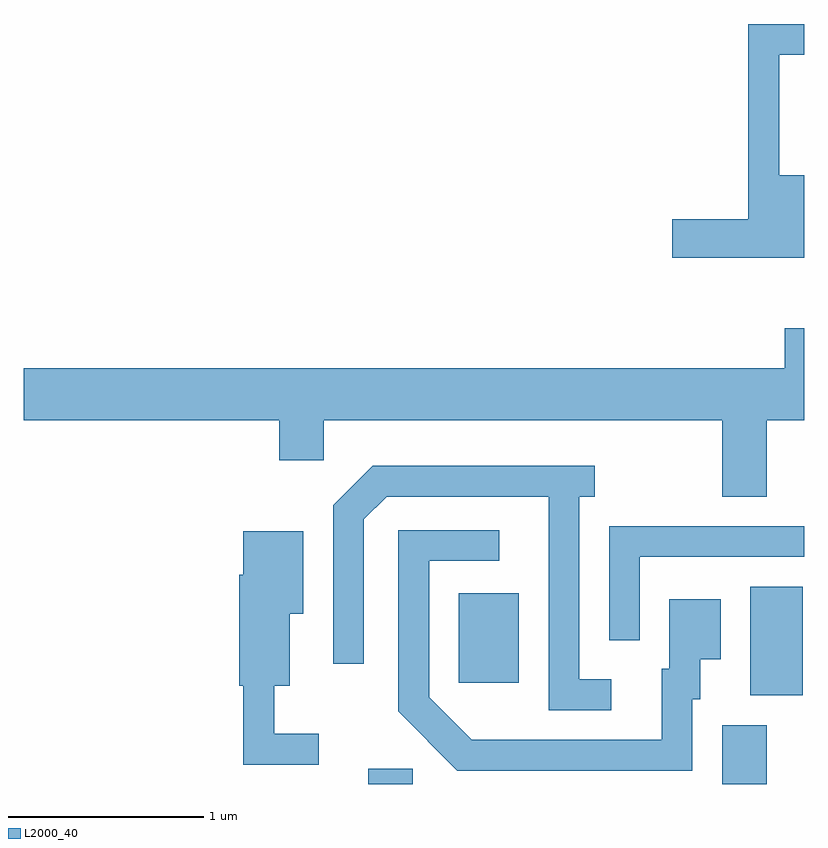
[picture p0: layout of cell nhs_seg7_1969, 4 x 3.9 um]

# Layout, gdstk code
import gdstk
lib = gdstk.Library(unit=1e-6, precision=1e-09)
def R(c, l, rs):  # rectangles x0, y0, x1, y1
    for r in rs: c.add(gdstk.rectangle(r[:2], r[2:], *l))
def P(c, l, *ps):  # polygons
    for p in ps: c.add(gdstk.Polygon(p, *l))
L2000_40 = (2000, 40)

nhs_seg7_1969 = lib.new_cell('nhs_seg7_1969')
R(nhs_seg7_1969, L2000_40, [(247.376,1690.252,247.604,1690.329), (249.191,1690.252,249.419,1690.554), (249.336,1690.706,249.604,1691.264), (247.841,1690.771,248.149,1691.229)])
P(nhs_seg7_1969, L2000_40, [(249.611,1693.374),(249.484,1693.374),(249.484,1693.991),(249.611,1693.991),(249.611,1694.149),(249.326,1694.149),(249.326,1693.149),(248.936,1693.149),(248.936,1692.951),(249.611,1692.951)],
  [(249.419,1692.116),(249.611,1692.116),(249.611,1692.589),(249.511,1692.589),(249.511,1692.384),(245.611,1692.384),(245.611,1692.116),(246.921,1692.116),(246.921,1691.911),(247.149,1691.911),(247.149,1692.116),(249.191,1692.116),(249.191,1691.726),(249.419,1691.726)],
  [(248.623,1690.789),(248.459,1690.789),(248.459,1691.726),(248.538,1691.726),(248.538,1691.884),(247.399,1691.884),(247.196,1691.682),(247.196,1690.868),(247.354,1690.868),(247.354,1691.609),(247.472,1691.726),(248.301,1691.726),(248.301,1690.631),(248.623,1690.631)],
  [(248.769,1691.416),(249.611,1691.416),(249.611,1691.574),(248.611,1691.574),(248.611,1690.988),(248.769,1690.988)],
  [(249.039,1690.686),(249.079,1690.686),(249.079,1690.891),(249.184,1690.891),(249.184,1691.199),(248.921,1691.199),(248.921,1690.844),(248.881,1690.844),(248.881,1690.479),(247.907,1690.479),(247.689,1690.697),(247.689,1691.396),(248.048,1691.396),(248.048,1691.554),(247.531,1691.554),(247.531,1690.624),(247.834,1690.321),(249.039,1690.321)],
  [(247.123,1690.509),(246.894,1690.509),(246.894,1690.756),(246.974,1690.756),(246.974,1691.126),(247.044,1691.126),(247.044,1691.549),(246.736,1691.549),(246.736,1691.324),(246.716,1691.324),(246.716,1690.756),(246.736,1690.756),(246.736,1690.351),(247.123,1690.351)])

lib.write_gds('nhs_seg7_1969.gds')
